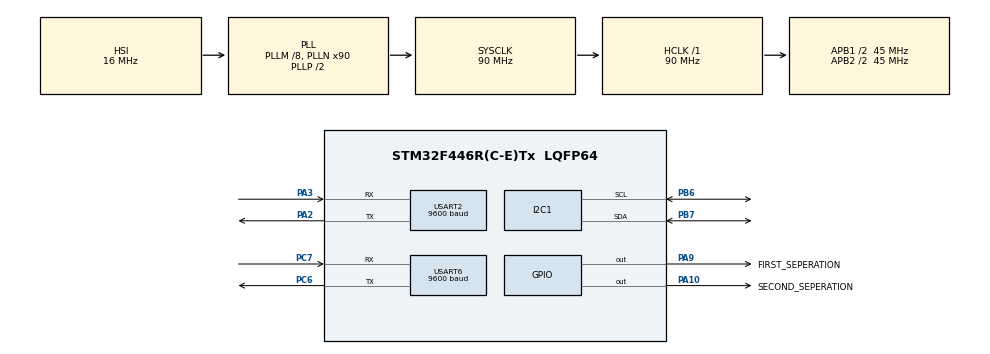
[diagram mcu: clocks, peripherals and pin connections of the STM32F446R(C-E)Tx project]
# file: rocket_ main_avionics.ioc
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I2C1.I2C_Mode=I2C_Standard
Mcu.Family=STM32F4
Mcu.Name=STM32F446R(C-E)Tx
Mcu.Package=LQFP64
NVIC.PriorityGroup=NVIC_PRIORITYGROUP_4
NVIC.USART6_IRQn=true\:0\:0\:false\:false\:true\:true\:true\:true
PA10.GPIO_Label=SECOND_SEPERATION
PA10.Signal=GPIO_Output
PA13.Mode=Serial_Wire
PA13.Signal=SYS_JTMS-SWDIO
PA14.Mode=Serial_Wire
PA14.Signal=SYS_JTCK-SWCLK
PA2.Mode=Asynchronous
PA2.Signal=USART2_TX
PA3.Mode=Asynchronous
PA3.Signal=USART2_RX
PA9.GPIO_Label=FIRST_SEPERATION
PA9.Signal=GPIO_Output
PB6.GPIO_Speed=GPIO_SPEED_FREQ_HIGH
PB6.Mode=I2C
PB6.Signal=I2C1_SCL
PB7.GPIO_Speed=GPIO_SPEED_FREQ_HIGH
PB7.Mode=I2C
PB7.Signal=I2C1_SDA
PC6.Mode=Asynchronous
PC6.Signal=USART6_TX
PC7.Mode=Asynchronous
PC7.Signal=USART6_RX
ProjectManager.HeapSize=0x200
ProjectManager.StackSize=0x400
ProjectManager.TargetToolchain=STM32CubeIDE
RCC.AHBFreq_Value=90000000
RCC.APB1CLKDivider=RCC_HCLK_DIV2
RCC.APB1Freq_Value=45000000
RCC.APB1TimFreq_Value=90000000
RCC.APB2CLKDivider=RCC_HCLK_DIV2
RCC.APB2Freq_Value=45000000
RCC.APB2TimFreq_Value=90000000
RCC.CortexFreq_Value=90000000
RCC.HCLKFreq_Value=90000000
RCC.PLLM=8
RCC.PLLN=90
RCC.SYSCLKFreq_VALUE=90000000
RCC.SYSCLKSource=RCC_SYSCLKSOURCE_PLLCLK
RCC.USBFreq_Value=90000000
RCC.VCOOutputFreq_Value=180000000
TIM1.Period=100-1
TIM1.Prescaler=90-1
USART2.BaudRate=9600
USART2.VirtualMode=VM_ASYNC
USART6.BaudRate=9600
USART6.VirtualMode=VM_ASYNC
VP_TIM1_VS_ClockSourceINT.Mode=Internal
board=custom

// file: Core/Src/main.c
/* USER CODE BEGIN Header */
/**
  ******************************************************************************
  * @file           : main.c
  * @brief          : Main program body
  ******************************************************************************
  * @attention
  *
  * Copyright (c) 2024 STMicroelectronics.
  * All rights reserved.
  *
  * This software is licensed under terms that can be found in the LICENSE file
  * in the root directory of this software component.
  * If no LICENSE file comes with this software, it is provided AS-IS.
  *
  ******************************************************************************
  */
/* USER CODE END Header */
#include "main.h"

/* USER CODE BEGIN Includes */
//#include "../../modules/mpu/mpu6050.h"
//#include "../../modules/bmp/bme280.h"
//#include "../../modules/gps/neo8m.h"
//#include "../../modules/role/role.h"
//#include "../../modules/gps/lwgps/lwgps.h"
//#include "../../modules/gps/lwgps/lwgps.h"
//#include "../../modules/gps/lwgps/lwgps_opt.h"
//#include "../../modules/gps/lwgps/lwgps_opts.h"

//#include "../../modules/gps/lwgps/lwgps.h"

#include"lwgps/lwgps.h"
#include "bme280.h"
#include "mpu6050.h"
//#include "mpu6050.c"

#include <math.h>
/* USER CODE END Includes */

I2C_HandleTypeDef hi2c1;

TIM_HandleTypeDef htim1;

UART_HandleTypeDef huart2;
UART_HandleTypeDef huart6;

void SystemClock_Config(void);
static void MX_GPIO_Init(void);
static void MX_I2C1_Init(void);
static void MX_TIM1_Init(void);
static void MX_USART2_UART_Init(void);
static void MX_USART6_UART_Init(void);

/* USER CODE BEGIN 0 */
float RollAng, Altitude1, Temperature, Pressure, Humidity;
float acX, acY, acZ, gyX, gyY, gyZ, Alt, T, P, H;
float gpsAlt, gpsLat, gpsLong;
unsigned char buff[54];
extern int flag;
int sayac = 0;

 lwgps_t gps;
 uint8_t rx_buffer[128];
 uint8_t rx_index = 0;
 uint8_t rx_data = 0;

typedef union{
 float sayi;
 unsigned char array[4];
} float32toInt8;

void HAL_UART_RxCpltCallback(UART_HandleTypeDef *huart)
{
	if(huart == &huart6) {
		if(rx_data != '\n' && rx_index < sizeof(rx_buffer)) {
			rx_buffer[rx_index++] = rx_data;
		} else {
			lwgps_process(&gps, rx_buffer, rx_index+1);
			rx_index = 0;
			rx_data = 0;
		}
		HAL_UART_Receive_IT(&huart6, &rx_data, 1);
	}
}

/* USER CODE END 0 */

int main(void)
{
  /* USER CODE BEGIN 1 */
//	void HAL_TIM_IRQHandler(TIM_HandleTypeDef *htim)
//
//	{
//
//
//		 if(htim->Instance==TIM1){
//			 //!!In here rocket seperation code or algorithm code
//		 }
//		 }

		// Other timer interrupts events..
	  //..}

  /* USER CODE END 1 */

  /* MCU Configuration--------------------------------------------------------*/

  /* Reset of all peripherals, Initializes the Flash interface and the Systick. */
  HAL_Init();

  /* Configure the system clock */
  SystemClock_Config();

  /* Initialize all configured peripherals */
  MX_GPIO_Init();
  MX_I2C1_Init();
  MX_TIM1_Init();
  MX_USART2_UART_Init();
  MX_USART6_UART_Init();
  /* USER CODE BEGIN 2 */
  HAL_TIM_Base_Init(&htim1);
  MPU6050_Init();
  lwgps_init(&gps);
  HAL_UART_Receive_IT(&huart6, &rx_data, 1);

    BME280_Config(OSRS_2, OSRS_16, OSRS_1, MODE_NORMAL, T_SB_0p5, IIR_16);

//    unsigned char cs()
//      {
//    	 int checkSum = 0;
//    	 for(int i=4; i<51; i++)
//    	 {
//    		 checkSum += buff[i];
//    	 }
//    	 return (unsigned char) (checkSum % 256);
//      }
/*
      void paket(int sayac)
      {
     	  buff[0] = 0xFF; //sabit
     	  buff[1] = 0xFF; //sabit
     	  buff[2] = 0x54; //sabit
     	  buff[3] = 0x52; //sabit
     	  buff[4] = 0x01; //id = 1 kabul ettik
     	  buff[5] = sayac; //paket sayaci

     	  float32toInt8 alt_donusturme;
     	  alt_donusturme.sayi = Alt;
     	  buff[6] = alt_donusturme.array[0];
     	  buff[7] = alt_donusturme.array[1];
     	  buff[8] = alt_donusturme.array[2];
     	  buff[9] = alt_donusturme.array[3];

     	  float32toInt8 gpsAltDonusturme;
     	  gpsAltDonusturme.sayi = gpsAlt;
     	  buff[10] = gpsAltDonusturme.array[0];
     	  buff[11] = gpsAltDonusturme.array[1];
     	  buff[12] = gpsAltDonusturme.array[2];
     	  buff[13] = gpsAltDonusturme.array[3];

     	  float32toInt8 gpsLatDonusturme;
     	  gpsLatDonusturme.sayi = gpsLat;
     	  buff[14] = gpsLatDonusturme.array[0];
     	  buff[15] = gpsLatDonusturme.array[1];
     	  buff[16] = gpsLatDonusturme.array[2];
     	  buff[17] = gpsLatDonusturme.array[3];

     	  float32toInt8 gpsLongDonusturme;
     	  gpsLongDonusturme.sayi = gpsLong;
     	  buff[18] = gpsLongDonusturme.array[0];
     	  buff[19] = gpsLongDonusturme.array[1];
     	  buff[20] = gpsLongDonusturme.array[2];
     	  buff[21] = gpsLongDonusturme.array[3];

     	  float32toInt8 AccX;
     	  AccX.sayi = acX;
     	  buff[22] = AccX.array[0];
     	  buff[23] = AccX.array[1];
     	  buff[24] = AccX.array[2];
     	  buff[25] = AccX.array[3];

     	  float32toInt8 AccY;
     	  AccY.sayi = acY;
     	  buff[26] = AccY.array[0];
     	  buff[27] = AccY.array[1];
     	  buff[28] = AccY.array[2];
     	  buff[29] = AccY.array[3];

     	  float32toInt8 AccZ;
     	  AccZ.sayi = acZ;
     	  buff[30] = AccZ.array[0];
     	  buff[31] = AccZ.array[1];
     	  buff[32] = AccZ.array[2];
     	  buff[33] = AccZ.array[3];

     	  float32toInt8 GyroX;
     	  GyroX.sayi = gyX;
     	  buff[34] = GyroX.array[0];
     	  buff[35] = GyroX.array[1];
     	  buff[36] = GyroX.array[2];
     	  buff[37] = GyroX.array[3];

     	  float32toInt8 GyroY;
     	  GyroY.sayi = gyY;
     	  buff[38] = GyroY.array[0];
     	  buff[39] = GyroY.array[1];
     	  buff[40] = GyroY.array[2];
     	  buff[41] = GyroY.array[3];

     	  float32toInt8 GyroZ;
     	  GyroZ.sayi = gyZ;
     	  buff[42] = GyroZ.array[0];
     	  buff[43] = GyroZ.array[1];
     	  buff[44] = GyroZ.array[2];
     	  buff[45] = GyroZ.array[3];

     	  float32toInt8 Aci;
     	  Aci.sayi = RollAng;
     	  buff[46] = Aci.array[0];
     	  buff[47] = Aci.array[1];
     	  buff[48] = Aci.array[2];
     	  buff[49] = Aci.array[3];

     	  buff[50] = 0;//flag; //durum
     	  buff[51] = cs(); //check-sum
     	  buff[52] = 0x0D; //sabit
     	  buff[53] = 0x0A; //sabit
      }
      */

  /* USER CODE END 2 */

  /* Infinite loop */
  while (1)
  {

    /* USER CODE BEGIN 3 */
	  acX = MPU6050_Kalman_Accel_X();
	 	  acY = MPU6050_Kalman_Accel_Y();
	 	  acZ = MPU6050_Kalman_Accel_Z();
	 	  gyX = MPU6050_Kalman_Gyro_X();
	 	  gyY = MPU6050_Kalman_Gyro_X();
	 	  gyZ = MPU6050_Kalman_Gyro_X();
	 	  RollAng = MPU6050_Kalman_Roll_Angle();
	 	  Temperature = BME280_Temperature();
	 	  Pressure = BME280_Pressure();
	 	  Humidity = BME280_Humidity();
	 	  T = BME280_Kalman_Temp(Temperature);
	 	  P = BME280_Kalman_Press(Pressure);
	 	  H = BME280_Kalman_Hum(Humidity);
	 	  Altitude1 = BME280_Altitude();
	 	  Alt = BME280_Kalman_Alt(Altitude1);
	 	  gpsAlt = gps.altitude;
	 	  gpsLat = gps.latitude;
	 	  gpsLong = gps.longitude;

	 	//  paket(sayac);
	 	  //sayac = sayac+1;

	 	  HAL_UART_Transmit(&huart2, buff, 54, 500);
	 	  HAL_Delay(500);
  }
  /* USER CODE END 3 */
}

void SystemClock_Config(void)
{
  RCC_OscInitTypeDef RCC_OscInitStruct = {0};
  RCC_ClkInitTypeDef RCC_ClkInitStruct = {0};

  /** Configure the main internal regulator output voltage
  */
  __HAL_RCC_PWR_CLK_ENABLE();
  __HAL_PWR_VOLTAGESCALING_CONFIG(PWR_REGULATOR_VOLTAGE_SCALE3);

  /** Initializes the RCC Oscillators according to the specified parameters
  * in the RCC_OscInitTypeDef structure.
  */
  RCC_OscInitStruct.OscillatorType = RCC_OSCILLATORTYPE_HSI;
  RCC_OscInitStruct.HSIState = RCC_HSI_ON;
  RCC_OscInitStruct.HSICalibrationValue = RCC_HSICALIBRATION_DEFAULT;
  RCC_OscInitStruct.PLL.PLLState = RCC_PLL_ON;
  RCC_OscInitStruct.PLL.PLLSource = RCC_PLLSOURCE_HSI;
  RCC_OscInitStruct.PLL.PLLM = 8;
  RCC_OscInitStruct.PLL.PLLN = 90;
  RCC_OscInitStruct.PLL.PLLP = RCC_PLLP_DIV2;
  RCC_OscInitStruct.PLL.PLLQ = 2;
  RCC_OscInitStruct.PLL.PLLR = 2;
  if (HAL_RCC_OscConfig(&RCC_OscInitStruct) != HAL_OK)
  {
    Error_Handler();
  }

  /** Initializes the CPU, AHB and APB buses clocks
  */
  RCC_ClkInitStruct.ClockType = RCC_CLOCKTYPE_HCLK|RCC_CLOCKTYPE_SYSCLK
                              |RCC_CLOCKTYPE_PCLK1|RCC_CLOCKTYPE_PCLK2;
  RCC_ClkInitStruct.SYSCLKSource = RCC_SYSCLKSOURCE_PLLCLK;
  RCC_ClkInitStruct.AHBCLKDivider = RCC_SYSCLK_DIV1;
  RCC_ClkInitStruct.APB1CLKDivider = RCC_HCLK_DIV2;
  RCC_ClkInitStruct.APB2CLKDivider = RCC_HCLK_DIV2;

  if (HAL_RCC_ClockConfig(&RCC_ClkInitStruct, FLASH_LATENCY_2) != HAL_OK)
  {
    Error_Handler();
  }
}

static void MX_I2C1_Init(void)
{

  hi2c1.Instance = I2C1;
  hi2c1.Init.ClockSpeed = 100000;
  hi2c1.Init.DutyCycle = I2C_DUTYCYCLE_2;
  hi2c1.Init.OwnAddress1 = 0;
  hi2c1.Init.AddressingMode = I2C_ADDRESSINGMODE_7BIT;
  hi2c1.Init.DualAddressMode = I2C_DUALADDRESS_DISABLE;
  hi2c1.Init.OwnAddress2 = 0;
  hi2c1.Init.GeneralCallMode = I2C_GENERALCALL_DISABLE;
  hi2c1.Init.NoStretchMode = I2C_NOSTRETCH_DISABLE;
  if (HAL_I2C_Init(&hi2c1) != HAL_OK)
  {
    Error_Handler();
  }

}

static void MX_TIM1_Init(void)
{

  TIM_ClockConfigTypeDef sClockSourceConfig = {0};
  TIM_MasterConfigTypeDef sMasterConfig = {0};

  htim1.Instance = TIM1;
  htim1.Init.Prescaler = 90-1;
  htim1.Init.CounterMode = TIM_COUNTERMODE_UP;
  htim1.Init.Period = 100-1;
  htim1.Init.ClockDivision = TIM_CLOCKDIVISION_DIV1;
  htim1.Init.RepetitionCounter = 0;
  htim1.Init.AutoReloadPreload = TIM_AUTORELOAD_PRELOAD_DISABLE;
  if (HAL_TIM_Base_Init(&htim1) != HAL_OK)
  {
    Error_Handler();
  }
  sClockSourceConfig.ClockSource = TIM_CLOCKSOURCE_INTERNAL;
  if (HAL_TIM_ConfigClockSource(&htim1, &sClockSourceConfig) != HAL_OK)
  {
    Error_Handler();
  }
  sMasterConfig.MasterOutputTrigger = TIM_TRGO_RESET;
  sMasterConfig.MasterSlaveMode = TIM_MASTERSLAVEMODE_DISABLE;
  if (HAL_TIMEx_MasterConfigSynchronization(&htim1, &sMasterConfig) != HAL_OK)
  {
    Error_Handler();
  }

}

static void MX_USART2_UART_Init(void)
{

  huart2.Instance = USART2;
  huart2.Init.BaudRate = 9600;
  huart2.Init.WordLength = UART_WORDLENGTH_8B;
  huart2.Init.StopBits = UART_STOPBITS_1;
  huart2.Init.Parity = UART_PARITY_NONE;
  huart2.Init.Mode = UART_MODE_TX_RX;
  huart2.Init.HwFlowCtl = UART_HWCONTROL_NONE;
  huart2.Init.OverSampling = UART_OVERSAMPLING_16;
  if (HAL_UART_Init(&huart2) != HAL_OK)
  {
    Error_Handler();
  }

}

static void MX_USART6_UART_Init(void)
{

  huart6.Instance = USART6;
  huart6.Init.BaudRate = 9600;
  huart6.Init.WordLength = UART_WORDLENGTH_8B;
  huart6.Init.StopBits = UART_STOPBITS_1;
  huart6.Init.Parity = UART_PARITY_NONE;
  huart6.Init.Mode = UART_MODE_TX_RX;
  huart6.Init.HwFlowCtl = UART_HWCONTROL_NONE;
  huart6.Init.OverSampling = UART_OVERSAMPLING_16;
  if (HAL_UART_Init(&huart6) != HAL_OK)
  {
    Error_Handler();
  }

}

static void MX_GPIO_Init(void)
{
  GPIO_InitTypeDef GPIO_InitStruct = {0};

  /* GPIO Ports Clock Enable */
  __HAL_RCC_GPIOA_CLK_ENABLE();
  __HAL_RCC_GPIOC_CLK_ENABLE();
  __HAL_RCC_GPIOB_CLK_ENABLE();

  /*Configure GPIO pin Output Level */
  HAL_GPIO_WritePin(GPIOA, FIRST_SEPERATION_Pin|SECOND_SEPERATION_Pin, GPIO_PIN_RESET);

  /*Configure GPIO pins : FIRST_SEPERATION_Pin SECOND_SEPERATION_Pin */
  GPIO_InitStruct.Pin = FIRST_SEPERATION_Pin|SECOND_SEPERATION_Pin;
  GPIO_InitStruct.Mode = GPIO_MODE_OUTPUT_PP;
  GPIO_InitStruct.Pull = GPIO_NOPULL;
  GPIO_InitStruct.Speed = GPIO_SPEED_FREQ_LOW;
  HAL_GPIO_Init(GPIOA, &GPIO_InitStruct);

}

void Error_Handler(void)
{
  __disable_irq();
  while (1)
  {
  }
}
